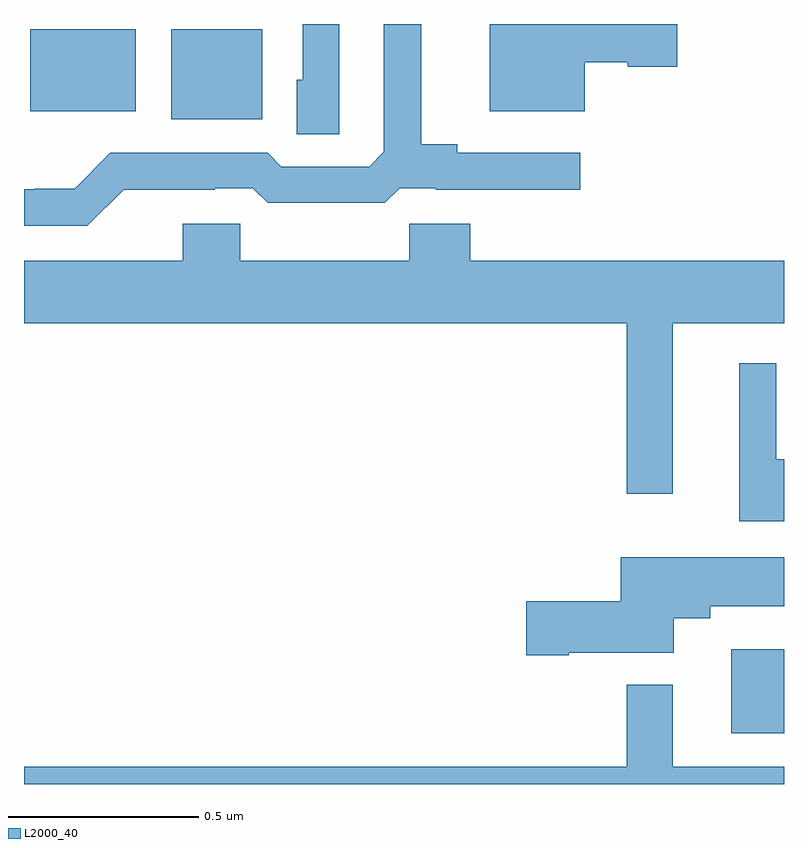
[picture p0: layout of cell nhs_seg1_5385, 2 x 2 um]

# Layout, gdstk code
import gdstk
lib = gdstk.Library(unit=1e-6, precision=1e-09)
def R(c, l, rs):  # rectangles x0, y0, x1, y1
    for r in rs: c.add(gdstk.rectangle(r[:2], r[2:], *l))
def P(c, l, *ps):  # polygons
    for p in ps: c.add(gdstk.Polygon(p, *l))
L2000_40 = (2000, 40)

nhs_seg1_5385 = lib.new_cell('nhs_seg1_5385')
R(nhs_seg1_5385, L2000_40, [(179.861,537.333,180,537.553), (178.388,538.949,178.627,539.185), (178.016,538.97,178.294,539.185)])
P(nhs_seg1_5385, L2000_40, [(179.476,539.099),(179.589,539.099),(179.589,539.087),(179.719,539.087),(179.719,539.199),(179.225,539.199),(179.225,538.97),(179.476,538.97)],
  [(178.83,539.199),(178.734,539.199),(178.734,539.052),(178.718,539.052),(178.718,538.909),(178.83,538.909)],
  [(178.262,538.763),(178.502,538.763),(178.502,538.767),(178.602,538.767),(178.642,538.728),(178.949,538.728),(178.989,538.767),(179.083,538.767),(179.083,538.763),(179.464,538.763),(179.464,538.86),(179.14,538.86),(179.14,538.883),(179.045,538.883),(179.045,539.199),(178.947,539.199),(178.947,538.863),(178.908,538.824),(178.677,538.824),(178.641,538.86),(178.227,538.86),(178.133,538.766),(178.028,538.766),(178.028,538.764),(178,538.764),(178,538.668),(178.167,538.668)],
  [(179.707,538.412),(180,538.412),(180,538.576),(179.174,538.576),(179.174,538.674),(179.014,538.674),(179.014,538.576),(178.569,538.576),(178.569,538.674),(178.418,538.674),(178.418,538.576),(178,538.576),(178,538.412),(179.586,538.412),(179.586,537.963),(179.707,537.963)],
  [(180,538.054),(179.98,538.054),(179.98,538.306),(179.882,538.306),(179.882,537.89),(180,537.89)],
  [(179.434,537.545),(179.71,537.545),(179.71,537.635),(179.806,537.635),(179.806,537.667),(180,537.667),(180,537.796),(179.57,537.796),(179.57,537.68),(179.322,537.68),(179.322,537.538),(179.434,537.538)],
  [(180,537.244),(179.707,537.244),(179.707,537.46),(179.586,537.46),(179.586,537.244),(178,537.244),(178,537.199),(180,537.199)])

lib.write_gds('nhs_seg1_5385.gds')
